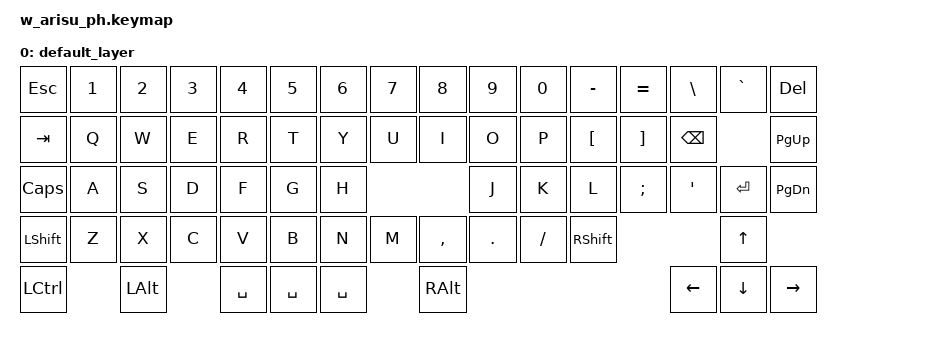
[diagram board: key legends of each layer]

/*
 * Copyright (c) 2020 The ZMK Contributors
 *
 * SPDX-License-Identifier: MIT
 */

#include <behaviors.dtsi>
#include <dt-bindings/zmk/keys.h>
#include <dt-bindings/zmk/bt.h>
#include <dt-bindings/zmk/outputs.h>


/ {
    keymap {
        compatible = "zmk,keymap";

        default_layer {

            bindings = <
                &kp ESC   &kp N1   &kp N2   &kp N3   &kp N4     &kp N5   &kp N6            &kp N7   &kp N8    &kp N9   &kp N0    &kp MINUS &kp EQUAL  &kp BSLH  &kp GRAVE  &kp DEL
                &kp TAB   &kp Q    &kp W    &kp E    &kp R      &kp T             &kp Y    &kp U    &kp I     &kp O    &kp P     &kp LBKT  &kp RBKT   &kp BSPC             &kp PAGE_UP
                &kp CAPS  &kp A    &kp S    &kp D    &kp F      &kp G             &kp H    &kp J    &kp K     &kp L    &kp SEMI  &kp SQT              &kp RET              &kp PAGE_DOWN
                &kp LSHFT &kp Z    &kp X    &kp C    &kp V      &kp B             &kp N    &kp M    &kp COMMA &kp DOT  &kp SLASH &kp RSHFT                       &kp UP
                &kp LCTRL          &kp LALT          &kp SPACE  &kp SPACE         &kp SPACE         &kp RALT                                           &kp LEFT  &kp DOWN   &kp RIGHT
            >;
        };
};

};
